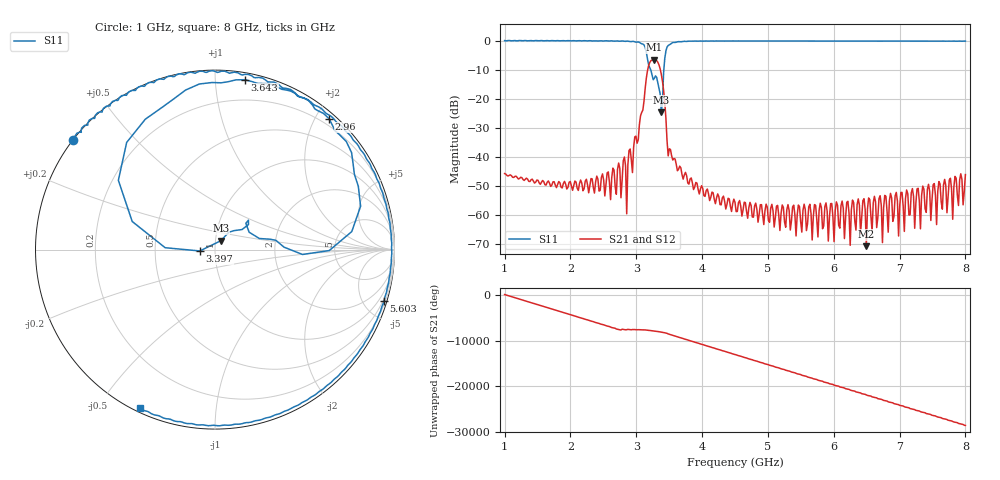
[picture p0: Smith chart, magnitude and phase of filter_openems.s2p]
! kicad2openems openEMS FDTD (filter)
! ports: 1=P1, 2=P2
# Hz S RI R 50
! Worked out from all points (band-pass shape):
!   401 points, 1 GHz to 8 GHz, reference 50 ohm
!   highest |S21| = -6.52 dB at 3.275 GHz (marker M1); lowest = -70.6 dB at 6.495 GHz (marker M2)
!   |S21| within 3 dB of the highest: 3.179 GHz to 3.361 GHz (182 MHz wide, 5.57 % of centre)
!   lowest |S11| = -24.6 dB at 3.38 GHz (marker M3), VSWR 1.13, Z = 53.1 + j5.26 ohm
!   |S11| at or under -10 dB: 3.219 GHz to 3.419 GHz (200.1 MHz wide, 6.03 % of centre)
!   |S22| runs from - to - dB; largest |S21 - S12| = 0
!   S11 on the Smith chart (normalised r, x): 1 GHz: -0.00, +0.34; 2.96 GHz: 0.10, +2.20; 3.397 GHz: 0.84, -0.01; 3.643 GHz: 0.05, +1.19; 5.603 GHz: 0.36, -6.70; 8 GHz: 0.01, -0.63
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1e9  -0.7914 0.613  0.000818 0.00515  0.000818 0.00515  0 0
2.1725e9  -0.1102 0.9825  0.00211 -0.00289  0.00211 -0.00289  0 0
2.82e9  0.4571 0.8579  0.00694 -0.00725  0.00694 -0.00725  0 0
2.96e9  0.6364 0.7282  0.0132 -0.00659  0.0132 -0.00659  0 0
3.1e9  0.7986 0.3526  -0.0132 -0.0625  -0.0132 -0.0625  0 0
3.1875e9  0.3846 0.0135  -0.3374 0.153  -0.3374 0.153  0 0
3.24e9  0.2473 0.0618  0.2287 0.4069  0.2287 0.4069  0 0
3.275e9  0.1719 0.1463  0.4721 -0.014  0.4721 -0.014  0 0
3.31e9  0.1867 0.1399  0.1577 -0.4248  0.1577 -0.4248  0 0
3.345e9  0.1055 0.1057  -0.3216 -0.2091  -0.3216 -0.2091  0 0
3.38e9  0.0326 0.0494  -0.1597 0.2136  -0.1597 0.2136  0 0
3.3975e9  -0.0848 -0.00753  0.0329 0.1998  0.0329 0.1998  0 0
3.45e9  -0.5384 0.3861  0.0131 -0.0455  0.0131 -0.0455  0 0
3.5025e9  -0.2963 0.7913  0.0139 0.00033  0.0139 0.00033  0 0
3.6425e9  0.1667 0.9465  5.18e-05 0.00617  5.18e-05 0.00617  0 0
3.9575e9  0.5782 0.7949  -0.00162 0.00167  -0.00162 0.00167  0 0
4.5e9  0.8739 0.4516  -0.000235 -0.00166  -0.000235 -0.00166  0 0
5.6025e9  0.9417 -0.2865  0.000722 2.43e-05  0.000722 2.43e-05  0 0
5.6725e9  0.9265 -0.3301  -4.88e-05 0.000375  -4.88e-05 0.000375  0 0
6.495e9  0.6111 -0.7692  0.000231 0.000184  0.000231 0.000184  0 0
6.845e9  0.4078 -0.8936  -0.000549 -0.00168  -0.000549 -0.00168  0 0
8e9  -0.4203 -0.8848  -0.00501 -6.19e-05  -0.00501 -6.19e-05  0 0
